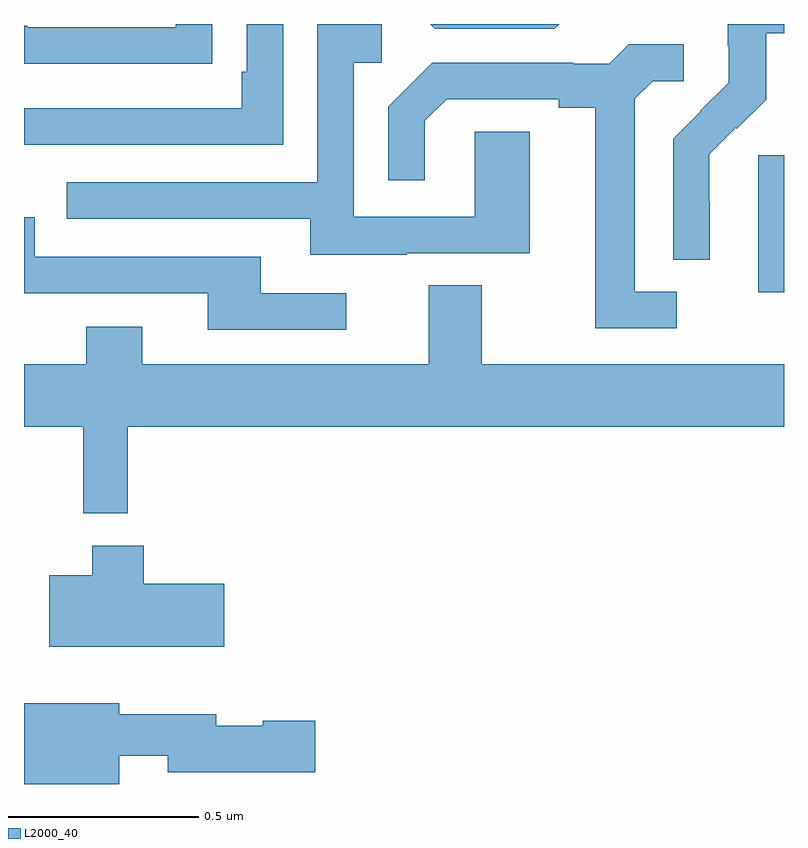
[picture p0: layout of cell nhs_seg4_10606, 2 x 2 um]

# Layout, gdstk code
import gdstk
lib = gdstk.Library(unit=1e-6, precision=1e-09)
def R(c, l, rs):  # rectangles x0, y0, x1, y1
    for r in rs: c.add(gdstk.rectangle(r[:2], r[2:], *l))
def P(c, l, *ps):  # polygons
    for p in ps: c.add(gdstk.Polygon(p, *l))
L2000_40 = (2000, 40)

nhs_seg4_10606 = lib.new_cell('nhs_seg4_10606')
R(nhs_seg4_10606, L2000_40, [(243.932,777.194,244,777.555)])
P(nhs_seg4_10606, L2000_40, [(242.682,777.9),(242.586,777.9),(242.586,777.775),(242.573,777.775),(242.573,777.678),(242,777.678),(242,777.582),(242.682,777.582)],
  [(243.408,777.9),(243.069,777.9),(243.081,777.888),(243.396,777.888)],
  [(243.804,777.434),(243.803,777.434),(243.803,777.557),(243.873,777.627),(243.876,777.624),(243.953,777.701),(243.953,777.876),(244,777.876),(244,777.9),(243.852,777.9),(243.852,777.843),(243.854,777.843),(243.854,777.746),(243.78,777.672),(243.781,777.671),(243.708,777.598),(243.708,777.28),(243.804,777.28)],
  [(242.393,777.796),(242.495,777.796),(242.495,777.9),(242.399,777.9),(242.399,777.891),(242.009,777.891),(242.009,777.896),(242,777.896),(242,777.795),(242.393,777.795)],
  [(243.007,777.297),(243.331,777.297),(243.331,777.617),(243.186,777.617),(243.186,777.393),(242.868,777.393),(242.868,777.798),(242.941,777.798),(242.941,777.899),(242.772,777.899),(242.772,777.483),(242.113,777.483),(242.113,777.387),(242.753,777.387),(242.753,777.293),(243.007,777.293)],
  [(243.718,777.195),(243.607,777.195),(243.607,777.703),(243.654,777.75),(243.736,777.75),(243.736,777.847),(243.592,777.847),(243.54,777.795),(243.446,777.795),(243.446,777.798),(243.074,777.798),(242.958,777.682),(242.958,777.489),(243.055,777.489),(243.055,777.645),(243.112,777.702),(243.407,777.702),(243.407,777.68),(243.503,777.68),(243.503,777.099),(243.718,777.099)],
  [(242.848,777.192),(242.623,777.192),(242.623,777.288),(242.028,777.288),(242.028,777.391),(242,777.391),(242,777.192),(242.483,777.192),(242.483,777.096),(242.848,777.096)],
  [(242.273,776.84),(244,776.84),(244,777.004),(243.205,777.004),(243.205,777.212),(243.065,777.212),(243.065,777.004),(242.311,777.004),(242.311,777.103),(242.164,777.103),(242.164,777.004),(242,777.004),(242,776.84),(242.156,776.84),(242.156,776.612),(242.273,776.612)],
  [(242.527,776.427),(242.315,776.427),(242.315,776.527),(242.18,776.527),(242.18,776.449),(242.066,776.449),(242.066,776.261),(242.527,776.261)],
  [(242.25,775.974),(242.378,775.974),(242.378,775.931),(242.767,775.931),(242.767,776.066),(242.628,776.066),(242.628,776.053),(242.506,776.053),(242.506,776.083),(242.251,776.083),(242.251,776.113),(242,776.113),(242,775.9),(242.25,775.9)])

lib.write_gds('nhs_seg4_10606.gds')
